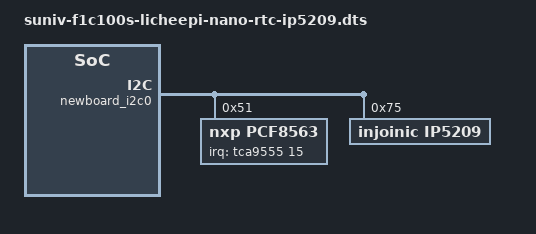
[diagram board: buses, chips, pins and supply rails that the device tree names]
// SPDX-License-Identifier: (GPL-2.0+ OR X11)
#include "suniv-f1c100s-licheepi-nano-tca9555.dts"

/ {
    aliases {
        rtc0 = &pcf8563;
    };
};

&newboard_i2c0 {
    pcf8563: rtc@51 {
        compatible = "nxp,pcf8563";
        reg = <0x51>;
        interrupt-parent = <&tca9555>;
        interrupts = <15 IRQ_TYPE_EDGE_FALLING>;
        #clock-cells = <0>;
        clock-output-names = "rtcout-32768";
        nxp,keep-clkout;
        wakeup-source;
    };

    ip5209: power-management@75 {
        compatible = "injoinic,ip5209";
        reg = <0x75>;
    };
};
